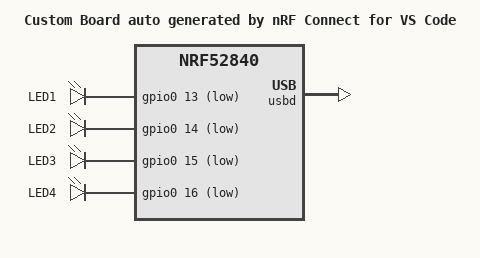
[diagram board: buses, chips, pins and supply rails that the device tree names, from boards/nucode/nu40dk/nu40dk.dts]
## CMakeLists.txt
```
cmake_minimum_required(VERSION 3.20.0)
find_package(Zephyr REQUIRED HINTS $ENV{ZEPHYR_BASE})

project(nu40dk-fw)


# 지정한 폴더에 있는 파일만 포함한다.
#
file(GLOB SRC_FILES CONFIGURE_DEPENDS
  src/*.c
  src/ap/*.c  
)

# 하위폴더에 있는 파일까지 포함한다.
#
file(GLOB_RECURSE SRC_FILES_RECURSE CONFIGURE_DEPENDS
  src/ap/modules/*.c
  src/bsp/*.c
  src/common/*.c
  src/hw/*.c
)

target_sources(app PRIVATE
  ${SRC_FILES}
  ${SRC_FILES_RECURSE}
)

target_include_directories(app PRIVATE
  src
  src/ap
  src/ap/modules
  src/ap/modules/common
  src/bsp
  src/common
  src/common/core
  src/common/hw/include
  src/hw
  src/lib
)

# 모듈 등록용 .module 섹션 (module.h 의 MODULE_DEF)
#
zephyr_linker_sources(SECTIONS src/bsp/ldscript/ldscript.ld)
```

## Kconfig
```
# nu40dk-fw 애플리케이션 전용 설정
#
# 여기서 켠 스위치 하나로 C 코드(hw_def.h)와 Zephyr 설정이 함께 따라간다.

config APP_USE_CLI
	bool "USB CDC CLI 사용"
	default y
	help
	  USB CDC 로 동작하는 CLI 를 포함한다.
	  저전력 동작이 필요하면 이 옵션을 끈다. USB 디바이스 스택과 UART 드라이버,
	  CLI 코드가 모두 빌드에서 빠진다.

if APP_USE_CLI

config SERIAL
	default y

config UART_INTERRUPT_DRIVEN
	default y

config UART_LINE_CTRL
	default y

config USB_DEVICE_STACK_NEXT
	default y

config USBD_CDC_ACM_CLASS
	default y

config CDC_ACM_SERIAL_INITIALIZE_AT_BOOT
	default y

config CDC_ACM_SERIAL_MANUFACTURER_STRING
	default "NUCODE"

config CDC_ACM_SERIAL_PRODUCT_STRING
	default "NU40DK CLI"

endif # APP_USE_CLI

config APP_USE_HEARTBEAT_LED
	bool "하트비트 LED"
	default y
	help
	  LED1 을 500ms 주기로 깜빡인다.
	  실측 기준 LED 1개가 1~2mA 를 먹으므로 소비전류 측정시에는 끈다.

config APP_POWER_TEST
	bool "부팅 후 System OFF (소비전류 바닥값 측정)"
	default n
	select POWEROFF
	help
	  부팅하고 3초 뒤에 System OFF 로 들어간다. MCU 가 완전히 꺼지므로
	  이때 측정되는 전류가 보드(LDO/표시LED/분압)만의 소비이며,
	  이 보드에서 펌웨어로 도달 가능한 최소값이다. 복귀는 리셋.

source "Kconfig.zephyr"
```

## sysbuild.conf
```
# 파티션은 디바이스 트리(nu40dk.dts)로 직접 관리한다.
# 파티션 매니저를 켜두면 앱이 0x0에 링크되어 SoftDevice/부트로더 영역을 덮어쓴다.
#
SB_CONFIG_PARTITION_MANAGER=n
```

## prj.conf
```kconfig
CONFIG_GPIO=y

# CLI(USB CDC)는 Kconfig 의 APP_USE_CLI 로 제어한다.
# 끄려면 CONFIG_APP_USE_CLI=n (또는 low_power.conf 사용).
#
CONFIG_APP_USE_CLI=y

# sys_reboot() (resetToBoot / resetToReset)
#
CONFIG_REBOOT=y

# sys_poweroff() - System OFF. 소비전류 바닥값 측정용 (reset off 명령)
#
CONFIG_POWEROFF=y

# 디버깅용. 릴리즈 빌드에서는 제거한다.
#   DEBUG_OPTIMIZATIONS  : -Og 로 빌드해서 브레이크포인트/변수 확인이 정상 동작
#   DEBUG_THREAD_INFO    : 디버거의 스레드 인식(pyOCD/cortex-debug)
#
CONFIG_DEBUG_OPTIMIZATIONS=y
CONFIG_DEBUG_THREAD_INFO=y
```

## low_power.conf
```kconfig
# 저전력 동작용 오버레이.
#
#   west build ... -- -DEXTRA_CONF_FILE=low_power.conf
#   (nRF Connect 확장에서는 빌드 설정의 Kconfig fragment 에 추가)
#
# CLI 를 빼면 USB 디바이스 스택, UART 드라이버, CLI 코드가 모두 빌드에서 제외된다.
#
CONFIG_APP_USE_CLI=n

CONFIG_DEBUG_OPTIMIZATIONS=n
CONFIG_DEBUG_THREAD_INFO=n
CONFIG_SIZE_OPTIMIZATIONS=y
```

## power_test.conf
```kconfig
# 소비전류 바닥값 측정용.
#
#   west build ... -- -DEXTRA_CONF_FILE=power_test.conf
#
# CLI/USB/LED 를 모두 빼고 부팅 3초 뒤 System OFF 로 들어간다.
# 이때 측정되는 값이 보드(LDO 정지전류, 표시 LED, VBAT 분압) 만의 소비다.
#
CONFIG_APP_USE_CLI=n
CONFIG_APP_USE_HEARTBEAT_LED=n
CONFIG_APP_POWER_TEST=y

CONFIG_DEBUG_OPTIMIZATIONS=n
CONFIG_DEBUG_THREAD_INFO=n
CONFIG_SIZE_OPTIMIZATIONS=y
```

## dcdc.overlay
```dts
/*
 * 내부 REG1 을 DC/DC 모드로 전환한다.
 *
 *   west build ... -- -DEXTRA_DTC_OVERLAY_FILE=dcdc.overlay
 *
 * SB6 실장(VDDH=VDD, 일반 전압 모드)이므로 REG0 는 바이패스되고 REG1 만 의미가 있다.
 * REG1 의 DC/DC 는 DCC 핀 인덕터가 필요한데 모듈(NCRB40N01VC) 외부에는 없다.
 * 내장돼 있으면 전류가 내려가고, 없으면 부팅이 불안정해진다 — 그때는 이 오버레이 없이
 * 다시 플래시하면 복구된다.
 */

&reg1 {
	regulator-initial-mode = <NRF5X_REG_MODE_DCDC>;
};
```

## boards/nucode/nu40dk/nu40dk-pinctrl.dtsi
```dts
&pinctrl {
  // CLI 용 UART. 회로도상 미사용이고 핀 헤더로 나와 있는 핀을 쓴다.
  //   TX : P0.06
  //   RX : P0.08
  //
  uart0_default: uart0_default {
    group1 {
      psels = <NRF_PSEL(UART_TX, 0, 6)>,
              <NRF_PSEL(UART_RX, 0, 8)>;
    };
  };

  uart0_sleep: uart0_sleep {
    group1 {
      psels = <NRF_PSEL(UART_TX, 0, 6)>,
              <NRF_PSEL(UART_RX, 0, 8)>;
      low-power-enable;
    };
  };
};
```

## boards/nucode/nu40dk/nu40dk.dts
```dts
/dts-v1/;
#include <nordic/nrf52840_qiaa.dtsi>
#include <zephyr/dt-bindings/gpio/gpio.h>
#include "nu40dk-pinctrl.dtsi"

/ {
	model = "Custom Board auto generated by nRF Connect for VS Code";
	compatible = "nucode,nu40dk";

	chosen {
		zephyr,sram = &sram0;
		zephyr,flash = &flash0;
		zephyr,code-partition = &slot0_partition;
		// USB CDC 인스턴스를 부팅시 자동 등록시키기 위한 지정.
		// (콘솔 서브시스템은 쓰지 않고 UART 드라이버 API 로 직접 접근한다)
		//
		zephyr,console = &cdc_acm_uart0;
	};

  leds {
    compatible = "gpio-leds";
    led1: led1 {
      gpios = <&gpio0 13 GPIO_ACTIVE_LOW>;
      label = "LED1";
    };
    led2: led2 {
      gpios = <&gpio0 14 GPIO_ACTIVE_LOW>;
      label = "LED2";
    };
    led3: led3 {
      gpios = <&gpio0 15 GPIO_ACTIVE_LOW>;
      label = "LED3";
    };
    led4: led4 {
      gpios = <&gpio0 16 GPIO_ACTIVE_LOW>;
      label = "LED4";
    };
  };
};

&flash0 {
	partitions {
		compatible = "fixed-partitions";
		#address-cells = <1>;
		#size-cells = <1>;

		boot_partition: partition@0 {
			label = "mcuboot";
			reg = <0x00000000 DT_SIZE_K(48)>;
		};

		slot0_partition: partition@c000 {
			label = "image-0";
			reg = <0x0000c000 DT_SIZE_K(472)>;
		};

		slot1_partition: partition@82000 {
			label = "image-1";
			reg = <0x00082000 DT_SIZE_K(472)>;
		};

		storage_partition: partition@f8000 {
			label = "storage";
			reg = <0x000f8000 DT_SIZE_K(32)>;
		};
	};
};

// CLI 용 USB CDC. 보드에 UART 커넥터가 없고 디버그 커넥터(J4)에도 UART 선이
// 없으므로 네이티브 USB 를 사용한다.
//
zephyr_udc0: &usbd {
  status = "okay";

  cdc_acm_uart0: cdc_acm_uart0 {
    compatible = "zephyr,cdc-acm-uart";
  };
};

&gpio0 {
  status = "okay";
};

&gpiote {
  status = "okay";
};
```

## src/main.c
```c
#include "main.h"


int main(void)
{
  hwInit();
  apInit();
  apMain();

  return 0;
}
```
